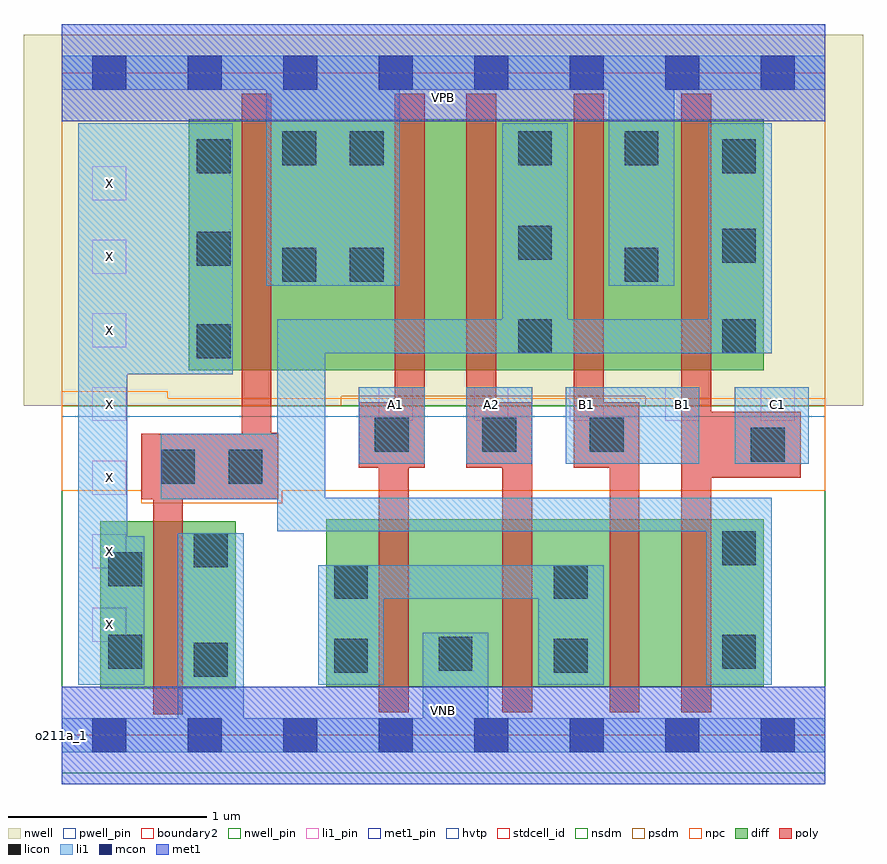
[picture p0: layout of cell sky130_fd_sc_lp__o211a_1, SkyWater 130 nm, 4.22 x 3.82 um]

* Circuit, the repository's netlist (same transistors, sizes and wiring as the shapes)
* Copyright 2020 The SkyWater PDK Authors
*
* Licensed under the Apache License, Version 2.0 (the "License");
* you may not use this file except in compliance with the License.
* You may obtain a copy of the License at
*
*     https://www.apache.org/licenses/LICENSE-2.0
*
* Unless required by applicable law or agreed to in writing, software
* distributed under the License is distributed on an "AS IS" BASIS,
* WITHOUT WARRANTIES OR CONDITIONS OF ANY KIND, either express or implied.
* See the License for the specific language governing permissions and
* limitations under the License.
*
* SPDX-License-Identifier: Apache-2.0

.SUBCKT sky130_fd_sc_lp__o211a_1 A1 A2 B1 C1 VGND VNB VPB VPWR X
*.PININFO A1:I A2:I B1:I C1:I VGND:I VNB:I VPB:I VPWR:I X:O
MMPA0 VPWR A1 sndA1 VPB sky130_fd_pr__pfet_01v8_hvt m=1 w=1.26U l=0.15U mult=1
+ sa=0.265 sb=0.265 sd=0.28 area=0.063 perim=1.14
MMPA1 sndA1 A2 y VPB sky130_fd_pr__pfet_01v8_hvt m=1 w=1.26U l=0.15U mult=1 sa=0.265
+ sb=0.265 sd=0.28 area=0.063 perim=1.14
MMPB0 VPWR B1 y VPB sky130_fd_pr__pfet_01v8_hvt m=1 w=1.26U l=0.15U mult=1 sa=0.265
+ sb=0.265 sd=0.28 area=0.063 perim=1.14
MMPC0 VPWR C1 y VPB sky130_fd_pr__pfet_01v8_hvt m=1 w=1.26U l=0.15U mult=1 sa=0.265
+ sb=0.265 sd=0.28 area=0.063 perim=1.14
MMIPX X y VPWR VPB sky130_fd_pr__pfet_01v8_hvt m=1 w=1.26U l=0.15U mult=1 sa=0.265
+ sb=0.265 sd=0.28 area=0.063 perim=1.14
MMNA0 pndA A1 VGND VNB sky130_fd_pr__nfet_01v8 m=1 w=0.84U l=0.15U mult=1 sa=0.265
+ sb=0.265 sd=0.28 area=0.063 perim=1.14
MMNA1 pndA A2 VGND VNB sky130_fd_pr__nfet_01v8 m=1 w=0.84U l=0.15U mult=1 sa=0.265
+ sb=0.265 sd=0.28 area=0.063 perim=1.14
MMNB0 pndB B1 pndA VNB sky130_fd_pr__nfet_01v8 m=1 w=0.84U l=0.15U mult=1 sa=0.265
+ sb=0.265 sd=0.28 area=0.063 perim=1.14
MMNC0 y C1 pndB VNB sky130_fd_pr__nfet_01v8 m=1 w=0.84U l=0.15U mult=1 sa=0.265
+ sb=0.265 sd=0.28 area=0.063 perim=1.14
MMINX X y VGND VNB sky130_fd_pr__nfet_01v8 m=1 w=0.84U l=0.15U mult=1 sa=0.265
+ sb=0.265 sd=0.28 area=0.063 perim=1.14
.ENDS sky130_fd_sc_lp__o211a_1

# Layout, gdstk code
import gdstk
lib = gdstk.Library(unit=1e-6, precision=1e-09)
def R(c, l, rs):  # rectangles x0, y0, x1, y1
    for r in rs: c.add(gdstk.rectangle(r[:2], r[2:], *l))
def A(c, l, x, y, w, h, nx, ny, dx, dy):  # array of equal rectangles
    R(c, l, [(x+i*dx, y+j*dy, x+i*dx+w, y+j*dy+h) for i in range(nx) for j in range(ny)])
def P(c, l, *ps):  # polygons
    for p in ps: c.add(gdstk.Polygon(p, *l))
nwell_pin = (64, 16)
nwell = (64, 20)
diff = (65, 20)
poly = (66, 20)
licon = (66, 44)
li1_pin = (67, 16)
li1 = (67, 20)
mcon = (67, 44)
met1_pin = (68, 16)
met1 = (68, 20)
hvtp = (78, 44)
stdcell_id = (81, 4)
nsdm = (93, 44)
psdm = (94, 20)
npc = (95, 20)
pwell_pin = (122, 16)
boundary2 = (236, 0)

sky130_fd_sc_lp__o211a_1 = lib.new_cell('sky130_fd_sc_lp__o211a_1')
R(sky130_fd_sc_lp__o211a_1, nwell_pin, [(0,3.085,3.84,3.33)])
R(sky130_fd_sc_lp__o211a_1, nwell, [(-0.19,1.655,4.03,3.52)])
R(sky130_fd_sc_lp__o211a_1, diff, [(0.195,0.235,0.875,1.075), (1.33,0.245,3.53,1.085), (0.64,1.835,3.53,3.095)])
R(sky130_fd_sc_lp__o211a_1, poly, [(0.46,0.105,0.61,1.185), (0.905,1.52,1.055,3.225)])
P(sky130_fd_sc_lp__o211a_1, poly, [(1.09,1.52),(0.905,1.52),(0.905,1.515),(0.4,1.515),(0.4,1.185),(1.09,1.185)],
  [(1.825,3.225),(1.675,3.225),(1.675,1.675),(1.495,1.675),(1.495,1.345),(1.595,1.345),(1.595,0.115),(1.745,0.115),(1.745,1.345),(1.825,1.345)],
  [(2.365,1.675),(2.185,1.675),(2.185,3.225),(2.035,3.225),(2.035,1.345),(2.215,1.345),(2.215,0.115),(2.365,0.115)],
  [(2.905,1.675),(2.725,1.675),(2.725,3.225),(2.575,3.225),(2.575,1.345),(2.755,1.345),(2.755,0.115),(2.905,0.115)],
  [(3.715,1.625),(3.265,1.625),(3.265,3.225),(3.115,3.225),(3.115,0.115),(3.265,0.115),(3.265,1.295),(3.715,1.295)])
A(sky130_fd_sc_lp__o211a_1, licon, 1.575, 1.425, 0.17, 0.17, 3, 1, 0.54, 0)
A(sky130_fd_sc_lp__o211a_1, licon, 0.68, 1.895, 0.17, 0.17, 1, 3, 0, 0.465)
R(sky130_fd_sc_lp__o211a_1, licon, [(0.665,0.295,0.835,0.465), (1.37,0.315,1.54,0.485), (2.475,0.315,2.645,0.485), (1.895,0.325,2.065,0.495), (0.235,0.335,0.405,0.505), (3.32,0.335,3.49,0.505), (1.37,0.685,1.54,0.855), (2.475,0.685,2.645,0.855), (0.235,0.75,0.405,0.92), (0.665,0.845,0.835,1.015), (3.32,0.855,3.49,1.025), (0.5,1.265,0.67,1.435), (0.84,1.265,1.01,1.435), (3.465,1.375,3.635,1.545), (2.295,1.92,2.465,2.09), (3.32,1.92,3.49,2.09), (1.11,2.28,1.28,2.45), (1.45,2.28,1.62,2.45), (2.83,2.28,3,2.45), (3.32,2.375,3.49,2.545), (2.295,2.39,2.465,2.56), (3.32,2.825,3.49,2.995), (1.11,2.865,1.28,3.035), (1.45,2.865,1.62,3.035), (2.295,2.865,2.465,3.035), (2.83,2.865,3,3.035)])
A(sky130_fd_sc_lp__o211a_1, li1_pin, 0.155, 0.47, 0.17, 0.17, 1, 7, 0, 0.37)
A(sky130_fd_sc_lp__o211a_1, li1_pin, 1.595, 1.58, 0.17, 0.17, 5, 1, 0.48, 0)
R(sky130_fd_sc_lp__o211a_1, li1, [(1.495,1.365,1.825,1.75), (2.035,1.365,2.365,1.75), (2.535,1.365,3.205,1.75), (3.385,1.365,3.755,1.75)])
P(sky130_fd_sc_lp__o211a_1, li1, [(1.03,2.26),(1.03,3.245),(0,3.245),(0,3.415),(3.84,3.415),(3.84,3.245),(3.08,3.245),(3.08,2.26),(2.75,2.26),(2.75,3.245),(1.7,3.245),(1.7,2.26)],
  [(1.815,0.085),(1.815,0.515),(2.145,0.515),(2.145,0.085),(3.84,0.085),(3.84,-0.085),(0,-0.085),(0,0.085),(0.585,0.085),(0.585,1.015),(0.915,1.015),(0.915,0.085)],
  [(0.86,3.075),(0.085,3.075),(0.085,0.255),(0.415,0.255),(0.415,1),(0.33,1),(0.33,1.815),(0.86,1.815)],
  [(3.57,1.195),(1.325,1.195),(1.325,1.92),(3.57,1.92),(3.57,3.075),(3.25,3.075),(3.25,2.09),(2.545,2.09),(2.545,3.075),(2.215,3.075),(2.215,2.09),(1.085,2.09),(1.085,1.515),(0.5,1.515),(0.5,1.185),(1.085,1.185),(1.085,1.025),(3.24,1.025),(3.24,0.255),(3.57,0.255)],
  [(2.395,0.685),(1.62,0.685),(1.62,0.255),(1.29,0.255),(1.29,0.855),(2.725,0.855),(2.725,0.255),(2.395,0.255)])
A(sky130_fd_sc_lp__o211a_1, mcon, 0.155, -0.085, 0.17, 0.17, 8, 2, 0.48, 3.33)
R(sky130_fd_sc_lp__o211a_1, met1_pin, [(0,0,3.84,0.245), (0,3.085,3.84,3.33)])
R(sky130_fd_sc_lp__o211a_1, met1, [(0,-0.245,3.84,0.245), (0,3.085,3.84,3.575)])
R(sky130_fd_sc_lp__o211a_1, hvtp, [(0,1.6,3.84,3.33)])
R(sky130_fd_sc_lp__o211a_1, stdcell_id, [(0,0,3.84,3.33)])
R(sky130_fd_sc_lp__o211a_1, nsdm, [(0,-0.19,3.84,1.655)])
P(sky130_fd_sc_lp__o211a_1, psdm, [(3.84,3.52),(0,3.52),(0,1.655),(1.405,1.655),(1.405,1.705),(2.935,1.705),(2.935,1.655),(3.84,1.655)])
P(sky130_fd_sc_lp__o211a_1, npc, [(3.84,1.695),(0.535,1.695),(0.535,1.73),(0,1.73),(0,1.23),(0.4,1.23),(0.4,1.165),(1.11,1.165),(1.11,1.23),(3.84,1.23)])
R(sky130_fd_sc_lp__o211a_1, pwell_pin, [(0,0,3.84,0.245)])
R(sky130_fd_sc_lp__o211a_1, boundary2, [(0,0,3.84,3.33)])
sky130_fd_sc_lp__o211a_1.add(gdstk.Label('VNB', (1.92,0.123), layer=64, texttype=59))
sky130_fd_sc_lp__o211a_1.add(gdstk.Label('VPB', (1.92,3.208), layer=64, texttype=5))
sky130_fd_sc_lp__o211a_1.add(gdstk.Label('o211a_1', (0,0), layer=83, texttype=44))
sky130_fd_sc_lp__o211a_1.add(gdstk.Label('VPWR', (1.92,3.208), layer=68, texttype=5))
sky130_fd_sc_lp__o211a_1.add(gdstk.Label('VGND', (1.92,0.123), layer=68, texttype=5))
sky130_fd_sc_lp__o211a_1.add(gdstk.Label('A2', (2.16,1.665), layer=67, texttype=5))
sky130_fd_sc_lp__o211a_1.add(gdstk.Label('B1', (2.64,1.665), layer=67, texttype=5))
sky130_fd_sc_lp__o211a_1.add(gdstk.Label('B1', (3.12,1.665), layer=67, texttype=5))
sky130_fd_sc_lp__o211a_1.add(gdstk.Label('C1', (3.6,1.665), layer=67, texttype=5))
sky130_fd_sc_lp__o211a_1.add(gdstk.Label('X', (0.24,0.555), layer=67, texttype=5))
sky130_fd_sc_lp__o211a_1.add(gdstk.Label('X', (0.24,0.925), layer=67, texttype=5))
sky130_fd_sc_lp__o211a_1.add(gdstk.Label('X', (0.24,1.295), layer=67, texttype=5))
sky130_fd_sc_lp__o211a_1.add(gdstk.Label('X', (0.24,1.665), layer=67, texttype=5))
sky130_fd_sc_lp__o211a_1.add(gdstk.Label('X', (0.24,2.035), layer=67, texttype=5))
sky130_fd_sc_lp__o211a_1.add(gdstk.Label('X', (0.24,2.405), layer=67, texttype=5))
sky130_fd_sc_lp__o211a_1.add(gdstk.Label('X', (0.24,2.775), layer=67, texttype=5))
sky130_fd_sc_lp__o211a_1.add(gdstk.Label('A1', (1.68,1.665), layer=67, texttype=5))

lib.write_gds('sky130_fd_sc_lp__o211a_1.gds')
